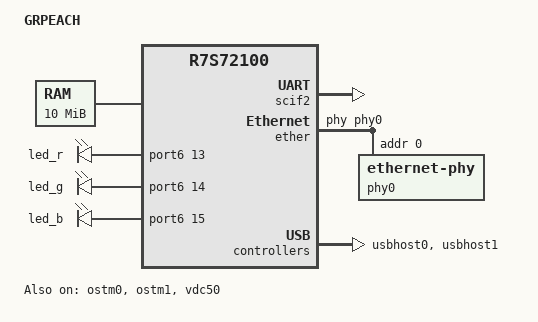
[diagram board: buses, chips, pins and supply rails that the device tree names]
/*
 * Device Tree Source for the GRPEACH board
 *
 * Copyright (C) 2017 Renesas Electronics
 *
 * This file is dual-licensed: you can use it either under the terms
 * of the GPL or the X11 license, at your option. Note that this dual
 * licensing only applies to this file, and not this project as a
 * whole.
 *
 *  a) This file is free software; you can redistribute it and/or
 *     modify it under the terms of the GNU General Public License as
 *     published by the Free Software Foundation; either version 2 of the
 *     License, or (at your option) any later version.
 *
 *     This file is distributed in the hope that it will be useful,
 *     but WITHOUT ANY WARRANTY; without even the implied warranty of
 *     MERCHANTABILITY or FITNESS FOR A PARTICULAR PURPOSE.  See the
 *     GNU General Public License for more details.
 *
 * Or, alternatively,
 *
 *  b) Permission is hereby granted, free of charge, to any person
 *     obtaining a copy of this software and associated documentation
 *     files (the "Software"), to deal in the Software without
 *     restriction, including without limitation the rights to use,
 *     copy, modify, merge, publish, distribute, sublicense, and/or
 *     sell copies of the Software, and to permit persons to whom the
 *     Software is furnished to do so, subject to the following
 *     conditions:
 *
 *     The above copyright notice and this permission notice shall be
 *     included in all copies or substantial portions of the Software.
 *
 *     THE SOFTWARE IS PROVIDED "AS IS", WITHOUT WARRANTY OF ANY KIND,
 *     EXPRESS OR IMPLIED, INCLUDING BUT NOT LIMITED TO THE WARRANTIES
 *     OF MERCHANTABILITY, FITNESS FOR A PARTICULAR PURPOSE AND
 *     NONINFRINGEMENT. IN NO EVENT SHALL THE AUTHORS OR COPYRIGHT
 *     HOLDERS BE LIABLE FOR ANY CLAIM, DAMAGES OR OTHER LIABILITY,
 *     WHETHER IN AN ACTION OF CONTRACT, TORT OR OTHERWISE, ARISING
 *     FROM, OUT OF OR IN CONNECTION WITH THE SOFTWARE OR THE USE OR
 *     OTHER DEALINGS IN THE SOFTWARE.
 */


/dts-v1/;
#include "r7s72100.dtsi"
#include <dt-bindings/gpio/gpio.h>
#include <dt-bindings/pinctrl/r7s72100-pinctrl.h>

/ {
	model = "GRPEACH";
	compatible = "renesas,grpeach", "renesas,r7s72100";

	aliases {
		/* It is recommended to always map the serial console as /dev/ttySC0
		 * in you system regardless of the actual SCIF channel used */
		serial0 = &scif2;
	};

	chosen {
		/* Keep extra spaces at the end in case you want to add additional command line options from u-boot */
		bootargs = "ignore_loglevel earlyprintk earlycon=scif,0xE8008000 rootfstype=axfs root=/dev/null rootflags=physaddr=0x18800000     ";
		stdout-path = "serial0:115200n8";
	};

	memory@20000000 {
		device_type = "memory";
		reg = <0x20000000 0x00A00000>;	 /* 10Mbyte of Internal RAM only */
	};

	lbsc {
		#address-cells = <1>;
		#size-cells = <1>;
	};

 /* LED (GPIO) as an example */
	leds {
		status = "okay";
		compatible = "gpio-leds";

		led_r {
			gpios = <&port6 13 GPIO_ACTIVE_HIGH>;
		};
		led_g {
			gpios = <&port6 14 GPIO_ACTIVE_HIGH>;
		};
		led_b {
			gpios = <&port6 15 GPIO_ACTIVE_HIGH>;
		};
	};


#if 0
	/* File System in XIP QSPI (for squashfs) */
	/* Remember, we'll be in QSPI XIP mode at this point */
	/* Requires CONFIG_MTD_ROM=y */
	qspi@18000000 {
		compatible = "mtd-rom";
		probe-type = "map_rom";
		reg = <0x18000000 0x4000000>;	/* 64 MB*/
		bank-width = <4>;
		device-width = <1>;

		#address-cells = <1>;
		#size-cells = <1>;

		partition@800000 {
			label ="user";
			reg = <0x0800000 0x800000>; /* 8MB @ 0x18800000 */
			read-only;
		};
	};
#endif
};

/* EXTAL (remove if not populated) */
&extal_clk {
	clock-frequency = <13330000>;	/* 13.33MHz */
};

/* USB_X1 (remove if not populated) */
&usb_x1_clk {
	clock-frequency = <48000000>;	/* 48MHz */
};

/* Define your pin settings here
 *
 * Please refer to tables 54.xx in the Hardware Manual for the correct
 * 'Alternative Mode' number for each pin. Caution: Alt Mode numbers
 * vary per pin and per device tyep (RZ/A1L,A1M,A1H)
 *
 * Syntax:
 *    pinmux = <RZA1_PINMUX(Port, Pin, Alt Mode)>
 *
 * Example:
 *    pinmux = <RZA1_PINMUX(3, 0, 6)>   /* P3_0 = TxD2 */
/*
 */
&pinctrl {

	/* Serial Console */
	scif2_pins: serial2 {
		pinmux = <RZA1_PINMUX(6, 3, 7)>,	/* TxD2 */
			 <RZA1_PINMUX(6, 2, 7)>;	/* TxD2 */
	};

	/* Ethernet Pins */
	ether_pins: ether {
		pinmux = <RZA1_PINMUX(1, 14, 4)>,	/* ET_COL   */
			 <RZA1_PINMUX(5, 9, 2)>,	/* ET_MDC   */
			 <RZA1_PINMUX(3, 3, 2)>,	/* ET_MDIO  */
			 <RZA1_PINMUX(3, 4, 2)>,	/* ET_RXCLK */
			 <RZA1_PINMUX(3, 5, 2)>,	/* ET_RXER  */
			 <RZA1_PINMUX(3, 6, 2)>,	/* ET_RXDV  */
			 <RZA1_PINMUX(3, 0, 2)>,	/* ET_TXCLK */
			 <RZA1_PINMUX(10, 1, 4)>,	/* ET_TXER  */
			 <RZA1_PINMUX(10, 2, 4)>,	/* ET_TXEN  */
			 <RZA1_PINMUX(10, 3, 4)>,	/* ET_CRS   */
			 <RZA1_PINMUX(10, 4, 4)>,	/* ET_TXD0  */
			 <RZA1_PINMUX(10, 5, 4)>,	/* ET_TXD1  */
			 <RZA1_PINMUX(10, 6, 4)>,	/* ET_TXD2  */
			 <RZA1_PINMUX(10, 7, 4)>,	/* ET_TXD3  */
			 <RZA1_PINMUX(10, 8, 4)>,	/* ET_RXD0  */
			 <RZA1_PINMUX(10, 9, 4)>,	/* ET_RXD1  */
			 <RZA1_PINMUX(10, 10, 4)>,	/* ET_RXD2  */
			 <RZA1_PINMUX(10, 11, 4)>;	/* ET_RXD3  */
	};


	/* RIIC ch0 Pins */
	i2c1_pins: i2c0 {
		pinmux = <RZA1_PINMUX(1, 2, 1)>,	/* RIIC1SCL */
			 <RZA1_PINMUX(1, 3, 1)>;	/* RIIC1SDA */
	};

	/* VDC5 LCD ch 0 LVDS Pins */
	vdc50_pins: vdc50 {
		pinmux = <RZA1_PINMUX(5, 0, 1)>,	/* TXCLKOUTP */
			 <RZA1_PINMUX(5, 1, 1)>,	/* TXCLKOUTM */
			 <RZA1_PINMUX(5, 2, 1)>,	/* TXOUT2P */
			 <RZA1_PINMUX(5, 3, 1)>,	/* TXOUT2M */
			 <RZA1_PINMUX(5, 4, 1)>,	/* TXOUT1P */
			 <RZA1_PINMUX(5, 5, 1)>,	/* TXOUT1M */
			 <RZA1_PINMUX(5, 6, 1)>,	/* TXOUT0P */
			 <RZA1_PINMUX(5, 7, 1)>;	/* TXOUT0M */
	};

};

/* High resolution System tick timers */
&ostm0 {
	status = "okay";
};

&ostm1 {
	status = "okay";
};

/* The MTU2 system timer is not really needed if you are using the higher
 * resolution OSTM timer */
# if 0
&mtu2 {
	status = "okay";
};
#endif


/* Serial Console */
&scif2 {
	pinctrl-names = "default";
	pinctrl-0 = <&scif2_pins>;
	status = "okay";
};

/* Ethernet */
&ether {
	pinctrl-names = "default";
	pinctrl-0 = <&ether_pins>;
	status = "okay";
	renesas,no-ether-link;
	phy-handle = <&phy0>;
	phy0: ethernet-phy@0 {
		reg = <0>;
	};
};

/* USB Host ch0 */
&usbhost0 {
	status = "okay";
	xtal-48mhz;
};

/* USB Host ch1 */
&usbhost1 {
	/* NOTE: You MUST enable USB ch0 (host or device) first because
	   there are some shared registers bits in USB0 that USB1 needs. */
	status = "okay";
	xtal-48mhz;
};

/* RIIC1 (I2C Touchscreen example) */
#if 0
&i2c0 {
	pinctrl-names = "default";
	pinctrl-0 = <&i2c1_pins>;
	status = "okay";
	clock-frequency = <400000>;

	/* Focaltech FT5x06 Capacitive Touch Panel Controller */
	ft5x06_ts@38 {
		compatible = "focaltech,ft5x06";
		reg = <0x38>; /* I2C address = 0x38 */
		interrupts = <GIC_SPI (33-32) IRQ_TYPE_LEVEL_HIGH>; /* IRQ1 */

		touchscreen-size-x = <800>;
		touchscreen-size-y = <480>;

		/* The touchscreen on the RSK LCD is backwards for some reason */
		touchscreen-inverted-x;
		touchscreen-inverted-y;
	};
};
#endif

/* LCD */
#define VDC5_BPP 16 /* 16bpp or 32bpp */
#define VDC5_FBSIZE (800*480*VDC5_BPP/8)
#define VDC5_FB_ADDR 0	/* 0 = allocate memory at probe (don't use when using SDRAM) */

/* LVDS Panel: AM800480RBTMQW-TA3H| 800x480 (WVGA), 7", LVDS, 16bpp */
&vdc50 {
	pinctrl-names = "default";
	pinctrl-0 = <&vdc50_pins>;

	display = <&display0>;
	status = "okay";

	/* Set the physical frame buffer address for internal RAM. */
	fb_phys_addr = <VDC5_FB_ADDR>;
	fb_phys_size = <VDC5_FBSIZE>;

	panel_name = "AM800480RBTMQW";
	panel_pixel_xres = <800>;	/* panel native resolution */
	panel_pixel_yres = <480>;	/* panel native resolution */


	/* See 'drivers/video/fbdev/renesas/vdc5fb.h' for valid choices
	* for panel_icksel, panel_ocksel, and out_format */
	panel_icksel = <0>;	/* (don't care when lvds=1) */
	panel_ocksel = <2>;	/* 2=OCKSEL_PLL_DIV7 (Peripheral clock 1) */
	out_format = <0>;	/* 0=OUT_FORMAT_RGB888 */
	use_lvds = <1>;		/* Set to 0 or 1 */

	/* Define how the TCON pins going to be used */
	/* From file drivers/video/fbdev/renesas/vdc5fb.h */
#define TCON_SEL_STVA           0       /* STVA/VS (VSYNC) */
#define TCON_SEL_STVB           1       /* STVB/VE (Vertical Enable)*/
#define TCON_SEL_STH            2       /* STH/SP/HS (HSYNC) */
#define TCON_SEL_STB            3       /* STB/LP/HE (Horizontal Enable) */
#define TCON_SEL_CPV            4       /* CPV/GCK (Gate clock signal) */
#define TCON_SEL_POLA           5       /* POLA (VCOM voltage polarity control signal) */
#define TCON_SEL_POLB           6       /* POLB (VCOM voltage polarity control signal) */
#define TCON_SEL_DE             7       /* DE (Data Enable) */
#define TCON_SEL_UNUSED         0xff    /* pin not used */

	tcon_sel = <
		0	/* TCON0: VSYNC		(for LVDS, VS must be TCON0) */
		0xff	/* TCON1: 		(not connected to LVDS circuit) */
		2	/* TCON2: HSYNC		(for LVDS, HS must be TCON2) */
		7	/* TCON3: DATA ENABLE	(for LVDS, DE must be TCON3) */
		0xff	/* TCON4: 		(not connected to LVDS circuit) */
		0xff	/* TCON5: 		(not connected to LVDS circuit) */
		0xff	/* TCON6: 		(not connected to LVDS circuit) */
		>;

	display0: display0 {
		bits-per-pixel = <VDC5_BPP>;
		bus-width = <24>;

		display-timings {
			native-mode = <&timing0>;
			timing0: timing0 {
				clock-frequency = <71100000>; /* min:64.3MHz, typ:71.1MHz, max:82MHz */
				hactive = <800>;
				vactive = <480>;
				hback-porch = <128>;
				hfront-porch = <92>;
				vback-porch = <35>;
				vfront-porch = <5>;
				hsync-len = <36>; /* max */
				vsync-len = <5>; /* max */
				hsync-active = <1>; /* HIGH */
				vsync-active = <1>; /* HIGH */
				de-active = <0>; /* LOW */
				pixelclk-active = <0>; /* ??? */
			};
		};
	};
}; /* LCD end */

